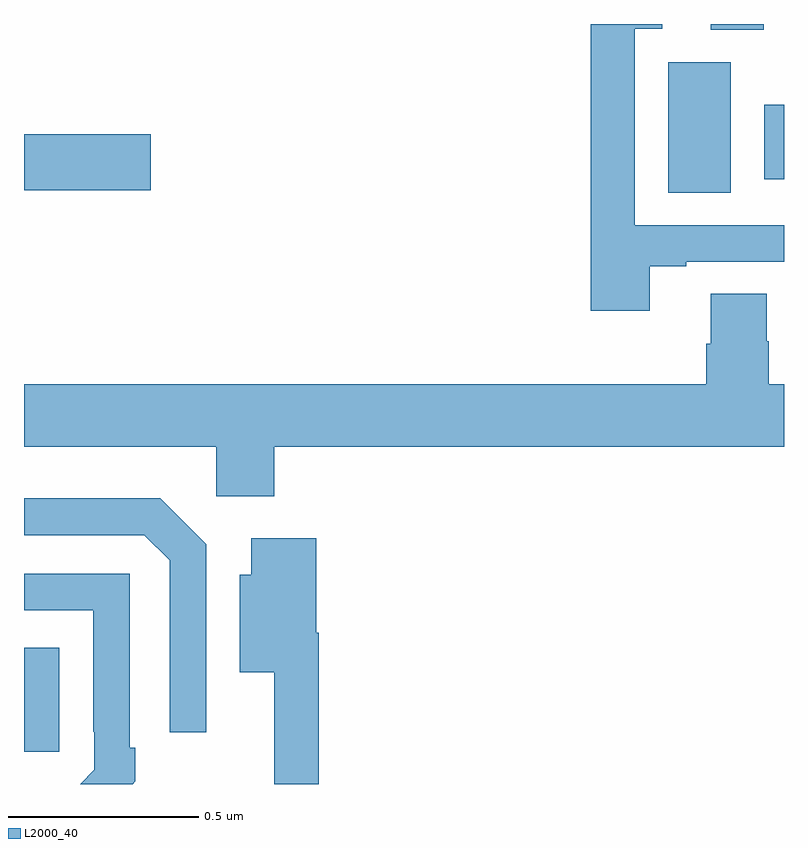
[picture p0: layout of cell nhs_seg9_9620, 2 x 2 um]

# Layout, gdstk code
import gdstk
lib = gdstk.Library(unit=1e-6, precision=1e-09)
def R(c, l, rs):  # rectangles x0, y0, x1, y1
    for r in rs: c.add(gdstk.rectangle(r[:2], r[2:], *l))
def P(c, l, *ps):  # polygons
    for p in ps: c.add(gdstk.Polygon(p, *l))
L2000_40 = (2000, 40)

nhs_seg9_9620 = lib.new_cell('nhs_seg9_9620')
R(nhs_seg9_9620, L2000_40, [(232,1227.585,232.093,1227.859), (233.696,1229.056,233.86,1229.4), (232,1229.063,232.333,1229.21), (233.948,1229.091,234,1229.287), (233.807,1229.485,233.947,1229.5)])
P(nhs_seg9_9620, L2000_40, [(233.647,1228.863),(233.743,1228.863),(233.743,1228.875),(234,1228.875),(234,1228.971),(233.607,1228.971),(233.607,1229.487),(233.68,1229.487),(233.68,1229.5),(233.491,1229.5),(233.491,1228.746),(233.647,1228.746)],
  [(232.658,1228.388),(234,1228.388),(234,1228.552),(233.96,1228.552),(233.96,1228.665),(233.955,1228.665),(233.955,1228.79),(233.807,1228.79),(233.807,1228.658),(233.795,1228.658),(233.795,1228.552),(232,1228.552),(232,1228.388),(232.506,1228.388),(232.506,1228.257),(232.658,1228.257)],
  [(232.479,1228.131),(232.358,1228.252),(232,1228.252),(232,1228.155),(232.317,1228.155),(232.383,1228.089),(232.383,1227.636),(232.479,1227.636)],
  [(232.775,1227.898),(232.769,1227.898),(232.769,1228.147),(232.598,1228.147),(232.598,1228.051),(232.568,1228.051),(232.568,1227.794),(232.658,1227.794),(232.658,1227.5),(232.775,1227.5)],
  [(232.293,1227.507),(232.293,1227.595),(232.278,1227.595),(232.278,1228.053),(232,1228.053),(232,1227.957),(232.182,1227.957),(232.182,1227.637),(232.185,1227.637),(232.185,1227.537),(232.148,1227.5),(232.286,1227.5)])

lib.write_gds('nhs_seg9_9620.gds')
